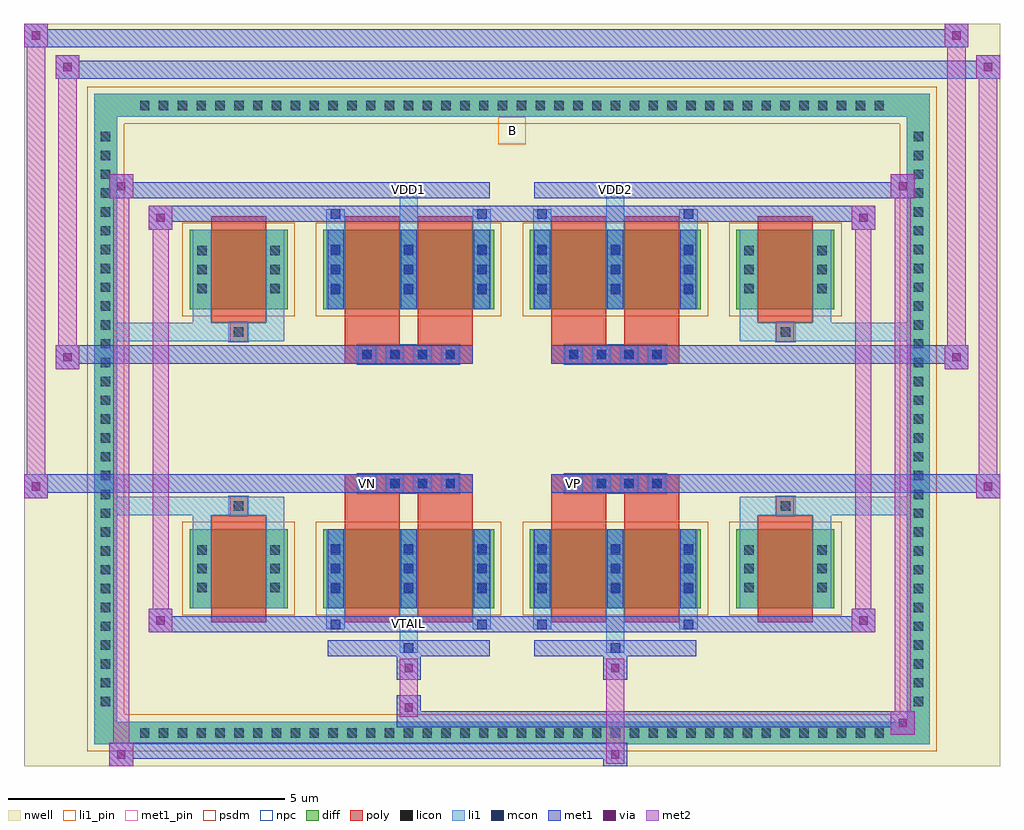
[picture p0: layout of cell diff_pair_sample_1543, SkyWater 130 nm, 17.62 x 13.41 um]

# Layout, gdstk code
import gdstk
lib = gdstk.Library(unit=1e-6, precision=5e-09)
def R(c, l, rs):  # rectangles x0, y0, x1, y1
    for r in rs: c.add(gdstk.rectangle(r[:2], r[2:], *l))
def A(c, l, x, y, w, h, nx, ny, dx, dy):  # array of equal rectangles
    R(c, l, [(x+i*dx, y+j*dy, x+i*dx+w, y+j*dy+h) for i in range(nx) for j in range(ny)])
def P(c, l, *ps):  # polygons
    for p in ps: c.add(gdstk.Polygon(p, *l))
nwell = (64, 20)
diff = (65, 20)
poly = (66, 20)
licon = (66, 44)
li1_pin = (67, 16)
li1 = (67, 20)
mcon = (67, 44)
met1_pin = (68, 16)
met1 = (68, 20)
via = (68, 44)
met2 = (69, 20)
psdm = (94, 20)
npc = (95, 20)

diff_pair_sample_1543 = lib.new_cell('diff_pair_sample_1543')
R(diff_pair_sample_1543, nwell, [(-8.81,-6.27,8.81,7.14), (-6.13,-4.46,-0.01,-0.8), (0.01,-4.46,6.13,-0.8), (-6.13,0.8,-0.01,4.46), (0.01,0.8,6.13,4.46)])
A(diff_pair_sample_1543, diff, -6.835, -5.87, 0.41, 0.41, 40, 2, 0.34, 11.33)
A(diff_pair_sample_1543, diff, -7.54, -5.305, 0.41, 0.41, 1, 31, 0, 0.34)
A(diff_pair_sample_1543, diff, 7.13, -5.305, 0.41, 0.41, 1, 31, 0, 0.34)
R(diff_pair_sample_1543, diff, [(-6.835,-5.87,6.835,-5.46), (-7.54,-5.305,-7.13,5.305), (7.13,-5.305,7.54,5.305), (-5.82,-3.415,-4.05,-1.985), (-3.41,-3.415,-0.32,-1.985), (0.32,-3.415,3.41,-1.985), (4.05,-3.415,5.82,-1.985), (-5.82,1.985,-4.05,3.415), (-3.41,1.985,-0.32,3.415), (0.32,1.985,3.41,3.415), (4.05,1.985,5.82,3.415), (-6.835,5.46,6.835,5.87)])
P(diff_pair_sample_1543, diff, [(7.54,5.87),(-7.54,5.87),(-7.54,-5.46),(-7.13,-5.46),(-7.13,5.46),(7.13,5.46),(7.13,-5.46),(-7.13,-5.46),(-7.54,-5.46),(-7.54,-5.87),(7.54,-5.87)])
A(diff_pair_sample_1543, poly, -2.78, -1.33, 0.33, 0.33, 4, 2, 0.5, 2.33)
A(diff_pair_sample_1543, poly, 0.95, -1.33, 0.33, 0.33, 4, 2, 0.5, 2.33)
R(diff_pair_sample_1543, poly, [(-5.43,-3.665,-4.44,-1.735), (-3.02,-3.665,-2.03,-1.735), (-1.7,-3.665,-0.71,-1.735), (0.71,-3.665,1.7,-1.735), (2.03,-3.665,3.02,-1.735), (4.44,-3.665,5.43,-1.735), (-5.1,-1.735,-4.77,-1.405), (-5.1,-1.735,-4.77,-1.405), (-3.02,-1.735,-2.03,-1.33), (-1.7,-1.735,-0.71,-1.33), (0.71,-1.735,1.7,-1.33), (2.03,-1.735,3.02,-1.33), (4.77,-1.735,5.1,-1.405), (4.77,-1.735,5.1,-1.405), (-3.02,-1.33,-0.71,-1), (0.71,-1.33,3.02,-1), (-3.02,1,-0.71,1.33), (0.71,1,3.02,1.33), (-3.02,1.33,-2.03,1.735), (-1.7,1.33,-0.71,1.735), (0.71,1.33,1.7,1.735), (2.03,1.33,3.02,1.735), (-5.1,1.405,-4.77,1.735), (-5.1,1.405,-4.77,1.735), (4.77,1.405,5.1,1.735), (4.77,1.405,5.1,1.735), (-5.43,1.735,-4.44,3.665), (-3.02,1.735,-2.03,3.665), (-1.7,1.735,-0.71,3.665), (0.71,1.735,1.7,3.665), (2.03,1.735,3.02,3.665), (4.44,1.735,5.43,3.665)])
A(diff_pair_sample_1543, licon, -6.715, -5.75, 0.17, 0.17, 40, 2, 0.34, 11.33)
A(diff_pair_sample_1543, licon, -7.42, -5.185, 0.17, 0.17, 1, 31, 0, 0.34)
A(diff_pair_sample_1543, licon, 7.25, -5.185, 0.17, 0.17, 1, 31, 0, 0.34)
A(diff_pair_sample_1543, licon, -5.68, -3.125, 0.17, 0.17, 1, 3, 0, 0.34)
A(diff_pair_sample_1543, licon, -4.36, -3.125, 0.17, 0.17, 1, 3, 0, 0.34)
A(diff_pair_sample_1543, licon, -3.27, -3.125, 0.17, 0.17, 3, 3, 1.32, 0.34)
A(diff_pair_sample_1543, licon, 0.46, -3.125, 0.17, 0.17, 3, 3, 1.32, 0.34)
A(diff_pair_sample_1543, licon, 4.19, -3.125, 0.17, 0.17, 1, 3, 0, 0.34)
A(diff_pair_sample_1543, licon, 5.51, -3.125, 0.17, 0.17, 1, 3, 0, 0.34)
A(diff_pair_sample_1543, licon, -2.7, -1.25, 0.17, 0.17, 4, 2, 0.5, 2.33)
A(diff_pair_sample_1543, licon, 1.03, -1.25, 0.17, 0.17, 4, 2, 0.5, 2.33)
A(diff_pair_sample_1543, licon, -5.68, 2.275, 0.17, 0.17, 1, 3, 0, 0.34)
A(diff_pair_sample_1543, licon, -4.36, 2.275, 0.17, 0.17, 1, 3, 0, 0.34)
A(diff_pair_sample_1543, licon, -3.27, 2.275, 0.17, 0.17, 3, 3, 1.32, 0.34)
A(diff_pair_sample_1543, licon, 0.46, 2.275, 0.17, 0.17, 3, 3, 1.32, 0.34)
A(diff_pair_sample_1543, licon, 4.19, 2.275, 0.17, 0.17, 1, 3, 0, 0.34)
A(diff_pair_sample_1543, licon, 5.51, 2.275, 0.17, 0.17, 1, 3, 0, 0.34)
R(diff_pair_sample_1543, licon, [(-5.02,-1.655,-4.85,-1.485), (4.85,-1.655,5.02,-1.485), (-5.02,1.485,-4.85,1.655), (4.85,1.485,5.02,1.655)])
R(diff_pair_sample_1543, li1_pin, [(-0.25,4.96,0.25,5.46)])
A(diff_pair_sample_1543, li1, -6.795, -5.83, 0.33, 0.33, 40, 2, 0.34, 11.33)
A(diff_pair_sample_1543, li1, -7.5, -5.265, 0.33, 0.33, 1, 31, 0, 0.34)
A(diff_pair_sample_1543, li1, 7.17, -5.265, 0.33, 0.33, 1, 31, 0, 0.34)
A(diff_pair_sample_1543, li1, -3.35, -3.415, 0.33, 1.43, 3, 2, 1.32, 5.4)
A(diff_pair_sample_1543, li1, 0.38, -3.415, 0.33, 1.43, 3, 2, 1.32, 5.4)
A(diff_pair_sample_1543, li1, -5.76, -3.205, 0.33, 0.33, 1, 3, 0, 0.34)
A(diff_pair_sample_1543, li1, -4.44, -3.205, 0.33, 0.33, 1, 3, 0, 0.34)
A(diff_pair_sample_1543, li1, -3.35, -3.205, 0.33, 0.33, 3, 3, 1.32, 0.34)
A(diff_pair_sample_1543, li1, 0.38, -3.205, 0.33, 0.33, 3, 3, 1.32, 0.34)
A(diff_pair_sample_1543, li1, 4.11, -3.205, 0.33, 0.33, 1, 3, 0, 0.34)
A(diff_pair_sample_1543, li1, 5.43, -3.205, 0.33, 0.33, 1, 3, 0, 0.34)
A(diff_pair_sample_1543, li1, -3.27, -3.145, 0.17, 0.17, 3, 3, 1.32, 0.36)
A(diff_pair_sample_1543, li1, -3.27, -3.145, 0.17, 0.89, 3, 2, 1.32, 5.4)
A(diff_pair_sample_1543, li1, 0.46, -3.145, 0.17, 0.17, 3, 3, 1.32, 0.36)
A(diff_pair_sample_1543, li1, 0.46, -3.145, 0.17, 0.89, 3, 2, 1.32, 5.4)
A(diff_pair_sample_1543, li1, -2.78, -1.33, 0.33, 0.33, 4, 2, 0.5, 2.33)
A(diff_pair_sample_1543, li1, 0.95, -1.33, 0.33, 0.33, 4, 2, 0.5, 2.33)
A(diff_pair_sample_1543, li1, -5.76, 2.195, 0.33, 0.33, 1, 3, 0, 0.34)
A(diff_pair_sample_1543, li1, -4.44, 2.195, 0.33, 0.33, 1, 3, 0, 0.34)
A(diff_pair_sample_1543, li1, -3.35, 2.195, 0.33, 0.33, 3, 3, 1.32, 0.34)
A(diff_pair_sample_1543, li1, 0.38, 2.195, 0.33, 0.33, 3, 3, 1.32, 0.34)
A(diff_pair_sample_1543, li1, 4.11, 2.195, 0.33, 0.33, 1, 3, 0, 0.34)
A(diff_pair_sample_1543, li1, 5.43, 2.195, 0.33, 0.33, 1, 3, 0, 0.34)
A(diff_pair_sample_1543, li1, -3.27, 2.255, 0.17, 0.17, 3, 3, 1.32, 0.36)
A(diff_pair_sample_1543, li1, 0.46, 2.255, 0.17, 0.17, 3, 3, 1.32, 0.36)
R(diff_pair_sample_1543, li1, [(-7.54,-5.87,-7.13,-5.46), (-7.54,-5.87,-7.13,-5.46), (-7.13,-5.87,7.13,-5.46), (7.13,-5.87,7.54,-5.46), (7.13,-5.87,7.54,-5.46), (-7.54,-5.46,-7.13,5.46), (7.13,-5.46,7.54,5.46), (-2.03,-4.22,-1.7,-3.415), (-1.95,-4.22,-1.78,-4.05), (1.7,-4.22,2.03,-3.415), (1.78,-4.22,1.95,-4.05), (-3.35,-3.79,-3.02,-3.415), (-3.27,-3.79,-3.1,-3.62), (-0.71,-3.79,-0.38,-3.415), (-0.63,-3.79,-0.46,-3.62), (0.38,-3.79,0.71,-3.415), (0.46,-3.79,0.63,-3.62), (3.02,-3.79,3.35,-3.415), (3.1,-3.79,3.27,-3.62), (-5.76,-3.415,-5.43,-1.985), (-4.44,-3.415,-4.11,-1.985), (4.11,-3.415,4.44,-1.985), (5.43,-3.415,5.76,-1.985), (-5.76,-1.985,-5.43,-1.405), (-4.44,-1.985,-4.11,-1.405), (4.11,-1.985,4.44,-1.405), (5.43,-1.985,5.76,-1.405), (-7.54,-1.735,-5.1,-1.405), (-5.76,-1.735,-5.1,-1.405), (-5.1,-1.735,-4.77,-1.405), (-4.77,-1.735,-4.11,-1.405), (4.11,-1.735,4.77,-1.405), (4.77,-1.735,5.1,-1.405), (4.77,-1.735,7.54,-1.405), (5.1,-1.735,5.76,-1.405), (-7.54,1.405,-5.1,1.735), (-5.76,1.405,-5.1,1.735), (-5.76,1.405,-5.43,1.985), (-5.1,1.405,-4.77,1.735), (-4.77,1.405,-4.11,1.735), (-4.44,1.405,-4.11,1.985), (4.11,1.405,4.77,1.735), (4.11,1.405,4.44,1.985), (4.77,1.405,5.1,1.735), (4.77,1.405,7.54,1.735), (5.1,1.405,5.76,1.735), (5.43,1.405,5.76,1.985), (-5.76,1.985,-5.43,3.415), (-4.44,1.985,-4.11,3.415), (4.11,1.985,4.44,3.415), (5.43,1.985,5.76,3.415), (-3.35,3.415,-3.02,3.79), (-2.03,3.415,-1.7,4.22), (-0.71,3.415,-0.38,3.79), (0.38,3.415,0.71,3.79), (1.7,3.415,2.03,4.22), (3.02,3.415,3.35,3.79), (-3.27,3.62,-3.1,3.79), (-0.63,3.62,-0.46,3.79), (0.46,3.62,0.63,3.79), (3.1,3.62,3.27,3.79), (-1.95,4.05,-1.78,4.22), (1.78,4.05,1.95,4.22), (-7.54,5.46,-7.13,5.87), (-7.54,5.46,-7.13,5.87), (-7.13,5.46,7.13,5.87), (7.13,5.46,7.54,5.87), (7.13,5.46,7.54,5.87)])
A(diff_pair_sample_1543, mcon, -3.27, -3.145, 0.17, 0.17, 3, 3, 1.32, 0.36)
A(diff_pair_sample_1543, mcon, 0.46, -3.145, 0.17, 0.17, 3, 3, 1.32, 0.36)
A(diff_pair_sample_1543, mcon, -2.7, -1.25, 0.17, 0.17, 4, 2, 0.5, 2.33)
A(diff_pair_sample_1543, mcon, 1.03, -1.25, 0.17, 0.17, 4, 2, 0.5, 2.33)
A(diff_pair_sample_1543, mcon, -3.27, 2.255, 0.17, 0.17, 3, 3, 1.32, 0.36)
A(diff_pair_sample_1543, mcon, 0.46, 2.255, 0.17, 0.17, 3, 3, 1.32, 0.36)
R(diff_pair_sample_1543, mcon, [(-1.95,-4.22,-1.78,-4.05), (1.78,-4.22,1.95,-4.05), (-3.27,-3.79,-3.1,-3.62), (-0.63,-3.79,-0.46,-3.62), (0.46,-3.79,0.63,-3.62), (3.1,-3.79,3.27,-3.62), (-3.27,3.62,-3.1,3.79), (-0.63,3.62,-0.46,3.79), (0.46,3.62,0.63,3.79), (3.1,3.62,3.27,3.79), (-1.95,4.05,-1.78,4.22), (1.78,4.05,1.95,4.22)])
R(diff_pair_sample_1543, met1_pin, [(-2,-3.83,-1.73,-3.56), (-2.75,-1.29,-2.48,-1.02), (0.98,-1.29,1.25,-1.02), (-2,4.01,-1.73,4.28), (1.73,4.01,2,4.28)])
A(diff_pair_sample_1543, met1, -3.33, -3.415, 0.29, 1.43, 3, 2, 1.32, 5.4)
A(diff_pair_sample_1543, met1, 0.4, -3.415, 0.29, 1.43, 3, 2, 1.32, 5.4)
A(diff_pair_sample_1543, met1, -3.33, -3.205, 0.29, 0.29, 3, 3, 1.32, 0.36)
A(diff_pair_sample_1543, met1, 0.4, -3.205, 0.29, 0.29, 3, 3, 1.32, 0.36)
A(diff_pair_sample_1543, met1, -2.76, -1.31, 0.29, 0.29, 4, 2, 0.5, 2.33)
A(diff_pair_sample_1543, met1, 0.97, -1.31, 0.29, 0.29, 4, 2, 0.5, 2.33)
A(diff_pair_sample_1543, met1, -3.33, 2.195, 0.29, 0.29, 3, 3, 1.32, 0.36)
A(diff_pair_sample_1543, met1, 0.4, 2.195, 0.29, 0.29, 3, 3, 1.32, 0.36)
R(diff_pair_sample_1543, met1, [(-7.27,-6.27,-6.84,-5.84), (1.65,-6.27,2.08,-5.84), (-7.27,-6.13,2.08,-5.84), (6.84,-5.7,7.27,-5.27), (-2.08,-5.56,7.27,-5.27), (-2.08,-5.42,-1.65,-4.99), (-2.08,-4.71,-1.65,-4.28), (1.65,-4.71,2.08,-4.28), (-3.33,-4.28,-0.4,-3.99), (-2.01,-4.28,-1.72,-3.99), (0.4,-4.28,3.33,-3.99), (1.72,-4.28,2.01,-3.99), (-6.56,-3.85,-6.13,-3.42), (-6.56,-3.85,-3.33,-3.56), (-3.33,-3.85,-3.04,-3.56), (-3.33,-3.85,-0.4,-3.56), (-0.69,-3.85,-0.4,-3.56), (-0.4,-3.85,0.4,-3.56), (0.4,-3.85,0.69,-3.56), (0.4,-3.85,3.33,-3.56), (3.04,-3.85,3.33,-3.56), (3.33,-3.85,6.56,-3.56), (6.13,-3.85,6.56,-3.42), (-8.81,-1.43,-8.38,-1), (8.38,-1.43,8.81,-1), (-8.81,-1.33,-0.71,-1), (-3.02,-1.33,-0.71,-1), (0.71,-1.33,3.02,-1), (0.71,-1.33,8.81,-1), (-8.24,0.9,-7.81,1.33), (7.81,0.9,8.24,1.33), (-8.24,1,-3.02,1.33), (-3.02,1,-0.71,1.33), (0.71,1,3.02,1.33), (3.02,1,8.24,1.33), (-6.56,3.42,-6.13,3.85), (6.13,3.42,6.56,3.85), (-6.56,3.56,-3.33,3.85), (-3.33,3.56,-3.04,3.85), (-3.33,3.56,-0.4,3.85), (-0.69,3.56,-0.4,3.85), (-0.4,3.56,0.4,3.85), (0.4,3.56,0.69,3.85), (0.4,3.56,3.33,3.85), (3.04,3.56,3.33,3.85), (3.33,3.56,6.56,3.85), (-7.27,3.99,-6.84,4.42), (-7.27,3.99,-3.33,4.28), (-3.33,3.99,-0.4,4.28), (-2.01,3.99,-1.72,4.28), (0.4,3.99,3.33,4.28), (1.72,3.99,2.01,4.28), (3.33,3.99,7.27,4.28), (6.84,3.99,7.27,4.42), (-8.24,6.14,-7.81,6.57), (-8.24,6.14,-6.13,6.47), (-6.13,6.14,6.13,6.47), (6.13,6.14,8.81,6.47), (8.38,6.14,8.81,6.57), (-8.81,6.71,-8.38,7.14), (-8.81,6.71,-6.13,7.04), (-6.13,6.71,6.13,7.04), (6.13,6.71,8.24,7.04), (7.81,6.71,8.24,7.14)])
R(diff_pair_sample_1543, via, [(-7.13,-6.13,-6.98,-5.98), (1.79,-6.13,1.94,-5.98), (6.98,-5.56,7.13,-5.41), (-1.94,-5.28,-1.79,-5.13), (-1.94,-4.57,-1.79,-4.42), (1.79,-4.57,1.94,-4.42), (-6.42,-3.71,-6.27,-3.56), (6.27,-3.71,6.42,-3.56), (-8.67,-1.29,-8.52,-1.14), (8.52,-1.29,8.67,-1.14), (-8.1,1.04,-7.95,1.19), (7.95,1.04,8.1,1.19), (-6.42,3.56,-6.27,3.71), (6.27,3.56,6.42,3.71), (-7.13,4.13,-6.98,4.28), (6.98,4.13,7.13,4.28), (-8.1,6.28,-7.95,6.43), (8.52,6.28,8.67,6.43), (-8.67,6.85,-8.52,7), (7.95,6.85,8.1,7)])
R(diff_pair_sample_1543, met2, [(-7.27,-6.27,-6.84,-5.84), (-7.2,-6.27,-6.91,4.42), (-6.91,-6.27,-6.84,-5.84), (-7.22,-6.22,-6.89,-5.89), (1.7,-6.22,2.03,-5.89), (1.7,-5.89,2.03,-4.66), (6.84,-5.7,7.27,-5.27), (6.91,-5.7,7.2,4.42), (7.2,-5.7,7.27,-5.27), (6.89,-5.65,7.22,-5.32), (-2.03,-5.37,-1.7,-5.04), (-2.03,-5.04,-1.7,-4.66), (-2.03,-4.66,-1.7,-4.33), (1.7,-4.66,2.03,-4.33), (-6.56,-3.85,-6.13,-3.42), (-6.49,-3.85,-6.2,3.85), (-6.2,-3.85,-6.13,-3.42), (6.13,-3.85,6.56,-3.42), (6.2,-3.85,6.49,3.85), (6.49,-3.85,6.56,-3.42), (-6.51,-3.8,-6.18,-3.47), (6.18,-3.8,6.51,-3.47), (-8.81,-1.43,-8.38,-1), (-8.76,-1.43,-8.43,7.14), (-8.43,-1.43,-8.38,-1), (8.38,-1.43,8.81,-1), (8.43,-1.43,8.76,6.57), (8.76,-1.43,8.81,-1), (-8.76,-1.38,-8.43,-1.05), (8.43,-1.38,8.76,-1.05), (-8.24,0.9,-7.81,1.33), (-8.19,0.9,-7.86,6.57), (-7.86,0.9,-7.81,1.33), (7.81,0.9,8.24,1.33), (7.86,0.9,8.19,7.14), (8.19,0.9,8.24,1.33), (-8.19,0.95,-7.86,1.28), (7.86,0.95,8.19,1.28), (-6.56,3.42,-6.13,3.85), (-6.2,3.42,-6.13,3.85), (6.13,3.42,6.56,3.85), (6.49,3.42,6.56,3.85), (-6.51,3.47,-6.18,3.8), (6.18,3.47,6.51,3.8), (-7.27,3.99,-6.84,4.42), (-6.91,3.99,-6.84,4.42), (6.84,3.99,7.27,4.42), (7.2,3.99,7.27,4.42), (-7.22,4.04,-6.89,4.37), (6.89,4.04,7.22,4.37), (-8.24,6.14,-7.81,6.57), (-7.86,6.14,-7.81,6.57), (8.38,6.14,8.81,6.57), (8.76,6.14,8.81,6.57), (-8.19,6.19,-7.86,6.52), (8.43,6.19,8.76,6.52), (-8.81,6.71,-8.38,7.14), (-8.43,6.71,-8.38,7.14), (7.81,6.71,8.24,7.14), (8.19,6.71,8.24,7.14), (-8.76,6.76,-8.43,7.09), (7.86,6.76,8.19,7.09)])
R(diff_pair_sample_1543, psdm, [(-5.95,-3.545,-3.92,-1.855), (-3.54,-3.545,-0.19,-1.855), (0.19,-3.545,3.54,-1.855), (3.92,-3.545,5.95,-1.855), (-5.95,1.855,-3.92,3.545), (-3.54,1.855,-0.19,3.545), (0.19,1.855,3.54,3.545), (3.92,1.855,5.95,3.545)])
P(diff_pair_sample_1543, psdm, [(7.67,6),(-7.67,6),(-7.67,-5.33),(-7,-5.33),(-7,5.33),(7,5.33),(7,-5.33),(-7,-5.33),(-7.67,-5.33),(-7.67,-6),(7.67,-6)])
A(diff_pair_sample_1543, npc, -2.8, -1.35, 0.37, 0.37, 4, 2, 0.5, 2.33)
A(diff_pair_sample_1543, npc, 0.93, -1.35, 0.37, 0.37, 4, 2, 0.5, 2.33)
R(diff_pair_sample_1543, npc, [(-5.12,-1.755,-4.75,-1.385), (4.75,-1.755,5.12,-1.385), (-2.8,-1.35,-1.93,-0.98), (-2.8,-1.35,-1.93,-0.98), (-2.3,-1.35,-1.43,-0.98), (-2.3,-1.35,-1.43,-0.98), (-1.8,-1.35,-0.93,-0.98), (-1.8,-1.35,-0.93,-0.98), (0.93,-1.35,1.8,-0.98), (0.93,-1.35,1.8,-0.98), (1.43,-1.35,2.3,-0.98), (1.43,-1.35,2.3,-0.98), (1.93,-1.35,2.8,-0.98), (1.93,-1.35,2.8,-0.98), (-2.8,0.98,-1.93,1.35), (-2.8,0.98,-1.93,1.35), (-2.3,0.98,-1.43,1.35), (-2.3,0.98,-1.43,1.35), (-1.8,0.98,-0.93,1.35), (-1.8,0.98,-0.93,1.35), (0.93,0.98,1.8,1.35), (0.93,0.98,1.8,1.35), (1.43,0.98,2.3,1.35), (1.43,0.98,2.3,1.35), (1.93,0.98,2.8,1.35), (1.93,0.98,2.8,1.35), (-5.12,1.385,-4.75,1.755), (4.75,1.385,5.12,1.755)])
diff_pair_sample_1543.add(gdstk.Label('VTAIL', (-1.865,-3.695), layer=68, texttype=5))
diff_pair_sample_1543.add(gdstk.Label('VN', (-2.615,-1.155), layer=68, texttype=5))
diff_pair_sample_1543.add(gdstk.Label('VP', (1.115,-1.155), layer=68, texttype=5))
diff_pair_sample_1543.add(gdstk.Label('B', (0,5.21), layer=67, texttype=5))
diff_pair_sample_1543.add(gdstk.Label('VDD2', (1.865,4.145), layer=68, texttype=5))
diff_pair_sample_1543.add(gdstk.Label('VDD1', (-1.865,4.145), layer=68, texttype=5))

lib.write_gds('diff_pair_sample_1543.gds')
